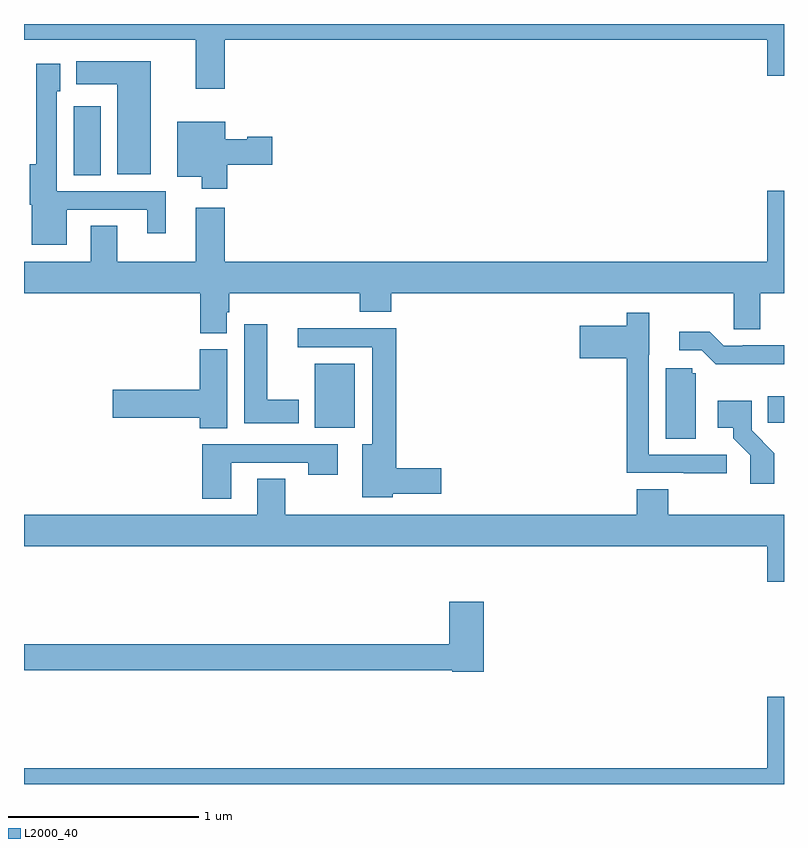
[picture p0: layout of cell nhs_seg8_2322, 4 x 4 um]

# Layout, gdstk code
import gdstk
lib = gdstk.Library(unit=1e-6, precision=1e-09)
def R(c, l, rs):  # rectangles x0, y0, x1, y1
    for r in rs: c.add(gdstk.rectangle(r[:2], r[2:], *l))
def P(c, l, *ps):  # polygons
    for p in ps: c.add(gdstk.Polygon(p, *l))
L2000_40 = (2000, 40)

nhs_seg8_2322 = lib.new_cell('nhs_seg8_2322')
R(nhs_seg8_2322, L2000_40, [(258.53,1131.776,258.742,1132.111), (260.914,1131.802,261,1131.94), (257.261,1133.104,257.404,1133.467)])
P(nhs_seg8_2322, L2000_40, [(258.056,1133.816),(260.912,1133.816),(260.912,1133.628),(261,1133.628),(261,1133.9),(257,1133.9),(257,1133.816),(257.903,1133.816),(257.903,1133.559),(258.056,1133.559)],
  [(257.668,1133.704),(257.276,1133.704),(257.276,1133.582),(257.492,1133.582),(257.492,1133.108),(257.668,1133.108)],
  [(257.224,1132.923),(257.648,1132.923),(257.648,1132.8),(257.746,1132.8),(257.746,1133.019),(257.172,1133.019),(257.172,1133.547),(257.191,1133.547),(257.191,1133.692),(257.064,1133.692),(257.064,1133.161),(257.029,1133.161),(257.029,1132.95),(257.042,1132.95),(257.042,1132.739),(257.224,1132.739)],
  [(258.071,1133.159),(258.307,1133.159),(258.307,1133.306),(258.174,1133.306),(258.174,1133.293),(258.058,1133.293),(258.058,1133.386),(257.807,1133.386),(257.807,1133.096),(257.936,1133.096),(257.936,1133.034),(258.071,1133.034)],
  [(258.067,1132.383),(258.08,1132.383),(258.08,1132.484),(258.767,1132.484),(258.767,1132.385),(258.932,1132.385),(258.932,1132.484),(260.736,1132.484),(260.736,1132.294),(260.875,1132.294),(260.875,1132.484),(261,1132.484),(261,1133.023),(260.912,1133.023),(260.912,1132.648),(258.056,1132.648),(258.056,1132.933),(257.903,1132.933),(257.903,1132.648),(257.491,1132.648),(257.491,1132.838),(257.351,1132.838),(257.351,1132.648),(257,1132.648),(257,1132.484),(257.927,1132.484),(257.927,1132.273),(258.067,1132.273)],
  [(260.698,1131.633),(260.289,1131.633),(260.289,1132.158),(260.29,1132.158),(260.29,1132.381),(260.173,1132.381),(260.173,1132.312),(259.926,1132.312),(259.926,1132.142),(260.173,1132.142),(260.173,1131.537),(260.473,1131.537),(260.473,1131.535),(260.698,1131.535)],
  [(258.445,1131.922),(258.28,1131.922),(258.28,1132.321),(258.158,1132.321),(258.158,1131.8),(258.445,1131.8)],
  [(258.942,1131.428),(259.195,1131.428),(259.195,1131.563),(258.959,1131.563),(258.959,1132.298),(258.441,1132.298),(258.441,1132.2),(258.833,1132.2),(258.833,1131.688),(258.779,1131.688),(258.779,1131.41),(258.942,1131.41)],
  [(260.74,1132.11),(261,1132.11),(261,1132.209),(260.782,1132.209),(260.782,1132.206),(260.682,1132.206),(260.609,1132.279),(260.448,1132.279),(260.448,1132.182),(260.568,1132.182),(260.641,1132.109),(260.74,1132.109)],
  [(258.07,1132.188),(257.924,1132.188),(257.924,1131.974),(257.466,1131.974),(257.466,1131.827),(257.924,1131.827),(257.924,1131.772),(258.07,1131.772)],
  [(260.536,1132.062),(260.517,1132.062),(260.517,1132.089),(260.378,1132.089),(260.378,1131.718),(260.536,1131.718)],
  [(260.948,1131.642),(260.829,1131.761),(260.829,1131.916),(260.652,1131.916),(260.652,1131.776),(260.732,1131.776),(260.732,1131.721),(260.823,1131.631),(260.823,1131.48),(260.948,1131.48)],
  [(258.091,1131.591),(258.496,1131.591),(258.496,1131.528),(258.652,1131.528),(258.652,1131.687),(257.939,1131.687),(257.939,1131.402),(258.091,1131.402)],
  [(261,1131.316),(260.39,1131.316),(260.39,1131.452),(260.225,1131.452),(260.225,1131.316),(258.375,1131.316),(258.375,1131.506),(258.227,1131.506),(258.227,1131.316),(257,1131.316),(257,1131.152),(260.912,1131.152),(260.912,1130.964),(261,1130.964)],
  [(259.421,1130.86),(259.238,1130.86),(259.238,1130.636),(257,1130.636),(257,1130.5),(259.254,1130.5),(259.254,1130.492),(259.421,1130.492)],
  [(261,1130.359),(260.912,1130.359),(260.912,1129.984),(257,1129.984),(257,1129.9),(261,1129.9)])

lib.write_gds('nhs_seg8_2322.gds')
